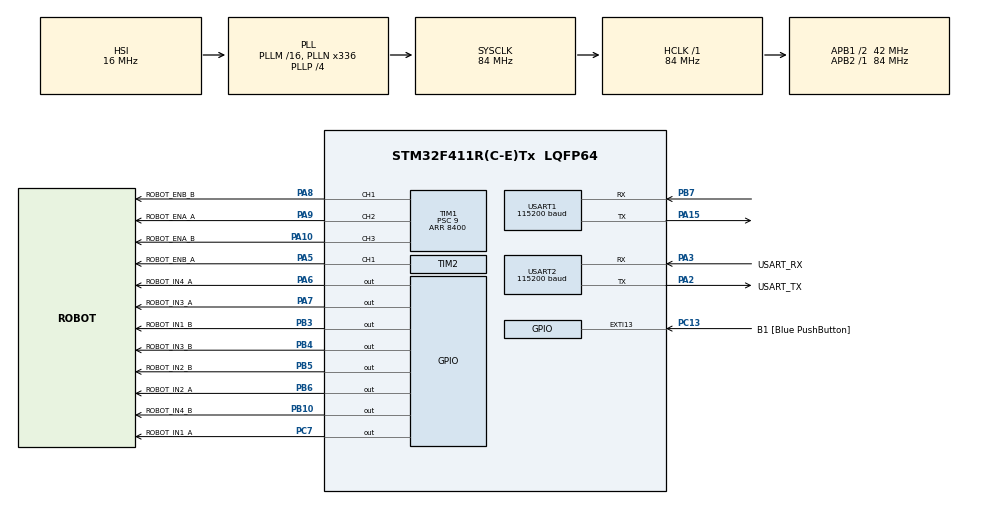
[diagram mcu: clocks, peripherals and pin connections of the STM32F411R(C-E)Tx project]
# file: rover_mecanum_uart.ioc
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Dma.Request0=USART1_RX
Dma.USART1_RX.0.Direction=DMA_PERIPH_TO_MEMORY
Dma.USART1_RX.0.FIFOMode=DMA_FIFOMODE_DISABLE
Dma.USART1_RX.0.Instance=DMA2_Stream2
Dma.USART1_RX.0.MemDataAlignment=DMA_MDATAALIGN_BYTE
Dma.USART1_RX.0.MemInc=DMA_MINC_ENABLE
Dma.USART1_RX.0.Mode=DMA_CIRCULAR
Dma.USART1_RX.0.PeriphDataAlignment=DMA_PDATAALIGN_BYTE
Dma.USART1_RX.0.PeriphInc=DMA_PINC_DISABLE
Dma.USART1_RX.0.Priority=DMA_PRIORITY_LOW
FREERTOS.Events01=lwpkt_events,Dynamic,NULL
FREERTOS.Queues01=uart_rb_queue,10,uint16_t,0,Dynamic,NULL,NULL
FREERTOS.Tasks01=defaultTask,24,256,StartDefaultTask,Default,NULL,Dynamic,NULL,NULL;uart_rb_task,32,256,Startuart_rb_task,Default,NULL,Dynamic,NULL,NULL
FREERTOS.configENABLE_FPU=1
FREERTOS.configUSE_NEWLIB_REENTRANT=1
Mcu.Family=STM32F4
Mcu.Name=STM32F411R(C-E)Tx
Mcu.Package=LQFP64
NVIC.DMA2_Stream2_IRQn=true\:5\:0\:false\:false\:true\:true\:false\:true\:true
NVIC.PriorityGroup=NVIC_PRIORITYGROUP_4
NVIC.TIM1_TRG_COM_TIM11_IRQn=true\:5\:0\:false\:false\:true\:false\:false\:true\:true
NVIC.TimeBase=TIM1_TRG_COM_TIM11_IRQn
NVIC.TimeBaseIP=TIM11
NVIC.USART1_IRQn=true\:5\:0\:false\:false\:true\:true\:true\:true\:true
PA10.GPIO_Label=ROBOT_ENA_B
PA10.Signal=S_TIM1_CH3
PA13.GPIO_Label=TMS
PA13.Mode=Serial_Wire
PA13.Signal=SYS_JTMS-SWDIO
PA14.GPIO_Label=TCK
PA14.Mode=Serial_Wire
PA14.Signal=SYS_JTCK-SWCLK
PA15.Mode=Asynchronous
PA15.Signal=USART1_TX
PA2.GPIO_Label=USART_TX
PA2.Mode=Asynchronous
PA2.Signal=USART2_TX
PA3.GPIO_Label=USART_RX
PA3.Mode=Asynchronous
PA3.Signal=USART2_RX
PA5.GPIO_Label=ROBOT_ENB_A
PA5.Signal=S_TIM2_CH1_ETR
PA6.GPIO_Label=ROBOT_IN4_A
PA6.Signal=GPIO_Output
PA7.GPIO_Label=ROBOT_IN3_A
PA7.Signal=GPIO_Output
PA8.GPIO_Label=ROBOT_ENB_B
PA8.Signal=S_TIM1_CH1
PA9.GPIO_Label=ROBOT_ENA_A
PA9.Signal=S_TIM1_CH2
PB10.GPIO_Label=ROBOT_IN4_B
PB10.Signal=GPIO_Output
PB3.GPIO_Label=ROBOT_IN1_B
PB3.Signal=GPIO_Output
PB4.GPIO_Label=ROBOT_IN3_B
PB4.Signal=GPIO_Output
PB5.GPIO_Label=ROBOT_IN2_B
PB5.Signal=GPIO_Output
PB6.GPIO_Label=ROBOT_IN2_A
PB6.Signal=GPIO_Output
PB7.Mode=Asynchronous
PB7.Signal=USART1_RX
PC13-ANTI_TAMP.GPIO_Label=B1 [Blue PushButton]
PC13-ANTI_TAMP.GPIO_ModeDefaultEXTI=GPIO_MODE_IT_FALLING
PC13-ANTI_TAMP.Signal=GPXTI13
PC14-OSC32_IN.Mode=LSE-External-Oscillator
PC14-OSC32_IN.Signal=RCC_OSC32_IN
PC15-OSC32_OUT.Mode=LSE-External-Oscillator
PC15-OSC32_OUT.Signal=RCC_OSC32_OUT
PC7.GPIO_Label=ROBOT_IN1_A
PC7.Signal=GPIO_Output
PH0\ -\ OSC_IN.Mode=HSE-External-Clock-Source
PH0\ -\ OSC_IN.Signal=RCC_OSC_IN
PH1\ -\ OSC_OUT.Mode=HSE-External-Clock-Source
PH1\ -\ OSC_OUT.Signal=RCC_OSC_OUT
ProjectManager.HeapSize=0x200
ProjectManager.StackSize=0x400
ProjectManager.TargetToolchain=STM32CubeIDE
RCC.48MHZClocksFreq_Value=84000000
RCC.AHBFreq_Value=84000000
RCC.APB1CLKDivider=RCC_HCLK_DIV2
RCC.APB1Freq_Value=42000000
RCC.APB1TimFreq_Value=84000000
RCC.APB2Freq_Value=84000000
RCC.APB2TimFreq_Value=84000000
RCC.CortexFreq_Value=84000000
RCC.FLatency-AdvancedSettings=FLASH_LATENCY_2
RCC.HCLKFreq_Value=84000000
RCC.HSE_VALUE=8000000
RCC.HSI_VALUE=16000000
RCC.PLLN=336
RCC.PLLP=RCC_PLLP_DIV4
RCC.SYSCLKFreq_VALUE=84000000
RCC.SYSCLKSource=RCC_SYSCLKSOURCE_PLLCLK
RCC.VCOOutputFreq_Value=336000000
SH.S_TIM1_CH1.0=TIM1_CH1,PWM Generation1 CH1
SH.S_TIM1_CH2.0=TIM1_CH2,PWM Generation2 CH2
SH.S_TIM1_CH3.0=TIM1_CH3,PWM Generation3 CH3
SH.S_TIM2_CH1_ETR.0=TIM2_CH1,PWM Generation1 CH1
TIM1.Channel-PWM\ Generation1\ CH1=TIM_CHANNEL_1
TIM1.Channel-PWM\ Generation2\ CH2=TIM_CHANNEL_2
TIM1.Channel-PWM\ Generation3\ CH3=TIM_CHANNEL_3
TIM1.Period=8400
TIM1.Prescaler=9
TIM2.Channel-PWM\ Generation1\ CH1=TIM_CHANNEL_1
TIM2.Period=8400
TIM2.Prescaler=9
USART1.BaudRate=115200
USART1.VirtualMode=VM_ASYNC
USART2.BaudRate=115200
USART2.VirtualMode=VM_ASYNC
VP_FREERTOS_VS_CMSIS_V2.Mode=CMSIS_V2
VP_SYS_VS_tim11.Mode=TIM11
VP_TIM1_VS_ClockSourceINT.Mode=Internal
board=NUCLEO-F411RE

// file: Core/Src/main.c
/* USER CODE BEGIN Header */
/**
  ******************************************************************************
  * @file           : main.c
  * @brief          : Main program body
  ******************************************************************************
  * @attention
  *
  * Copyright (c) 2023 STMicroelectronics.
  * All rights reserved.
  *
  * This software is licensed under terms that can be found in the LICENSE file
  * in the root directory of this software component.
  * If no LICENSE file comes with this software, it is provided AS-IS.
  *
  ******************************************************************************
  */
/* USER CODE END Header */
#include "main.h"
#include "cmsis_os.h"

/* USER CODE BEGIN Includes */

#include <mecanum.h>
#include <lwrb/lwrb.h>
#include <lwpkt/lwpkt.h>
#include <stdio.h>
#include "../../cJSON-1.7.17/cJSON.h"

/* USER CODE END Includes */

/* USER CODE BEGIN PD */

#define ROBOT_FL_MOTOR_TIM      htim1
#define ROBOT_FR_MOTOR_TIM      htim1
#define ROBOT_BL_MOTOR_TIM      htim2
#define ROBOT_BR_MOTOR_TIM      htim1

#define ROBOT_FL_MOTOR_TIM_CHAN TIM_CHANNEL_1
#define ROBOT_FR_MOTOR_TIM_CHAN TIM_CHANNEL_3
#define ROBOT_BL_MOTOR_TIM_CHAN TIM_CHANNEL_1
#define ROBOT_BR_MOTOR_TIM_CHAN TIM_CHANNEL_2

#define ROBOT_FL_MOTOR_DIR_PIN_1_PORT ROBOT_IN3_B_GPIO_Port
#define ROBOT_FR_MOTOR_DIR_PIN_1_PORT ROBOT_IN1_B_GPIO_Port
#define ROBOT_BL_MOTOR_DIR_PIN_1_PORT ROBOT_IN3_A_GPIO_Port
#define ROBOT_BR_MOTOR_DIR_PIN_1_PORT ROBOT_IN1_A_GPIO_Port

#define ROBOT_FL_MOTOR_DIR_PIN_2_PORT ROBOT_IN4_B_GPIO_Port
#define ROBOT_FR_MOTOR_DIR_PIN_2_PORT ROBOT_IN2_B_GPIO_Port
#define ROBOT_BL_MOTOR_DIR_PIN_2_PORT ROBOT_IN4_A_GPIO_Port
#define ROBOT_BR_MOTOR_DIR_PIN_2_PORT ROBOT_IN2_A_GPIO_Port

#define ROBOT_FL_MOTOR_DIR_PIN_1 ROBOT_IN3_B_Pin
#define ROBOT_FR_MOTOR_DIR_PIN_1 ROBOT_IN1_B_Pin
#define ROBOT_BL_MOTOR_DIR_PIN_1 ROBOT_IN3_A_Pin
#define ROBOT_BR_MOTOR_DIR_PIN_1 ROBOT_IN1_A_Pin

#define ROBOT_FL_MOTOR_DIR_PIN_2 ROBOT_IN4_B_Pin
#define ROBOT_FR_MOTOR_DIR_PIN_2 ROBOT_IN2_B_Pin
#define ROBOT_BL_MOTOR_DIR_PIN_2 ROBOT_IN4_A_Pin
#define ROBOT_BR_MOTOR_DIR_PIN_2 ROBOT_IN2_A_Pin

#define lwpkt_init_event_flag 			((uint32_t)0x00000001)

#define UART_RX_BUFFER_SIZE 512
#define UART_DMA_RX_BUFFER_SIZE 256
#define UART_TX_BUFFER_SIZE 512

/* USER CODE END PD */

TIM_HandleTypeDef htim1;
TIM_HandleTypeDef htim2;

UART_HandleTypeDef huart1;
UART_HandleTypeDef huart2;
DMA_HandleTypeDef hdma_usart1_rx;

/* Definitions for defaultTask */
osThreadId_t defaultTaskHandle;
const osThreadAttr_t defaultTask_attributes = {
  .name = "defaultTask",
  .stack_size = 256 * 4,
  .priority = (osPriority_t) osPriorityNormal,
};
/* Definitions for uart_rb_task */
osThreadId_t uart_rb_taskHandle;
const osThreadAttr_t uart_rb_task_attributes = {
  .name = "uart_rb_task",
  .stack_size = 256 * 4,
  .priority = (osPriority_t) osPriorityAboveNormal,
};
/* Definitions for uart_rb_queue */
osMessageQueueId_t uart_rb_queueHandle;
const osMessageQueueAttr_t uart_rb_queue_attributes = {
  .name = "uart_rb_queue"
};
/* Definitions for lwpkt_events */
osEventFlagsId_t lwpkt_eventsHandle;
const osEventFlagsAttr_t lwpkt_events_attributes = {
  .name = "lwpkt_events"
};
/* USER CODE BEGIN PV */

motor_t fl_motor = { .dir_pin_1_port = ROBOT_FL_MOTOR_DIR_PIN_1_PORT,
    .dir_pin_1 =
    ROBOT_FL_MOTOR_DIR_PIN_1, .dir_pin_2_port =
    ROBOT_FL_MOTOR_DIR_PIN_2_PORT, .dir_pin_2 = ROBOT_FL_MOTOR_DIR_PIN_2,
    .timer = &ROBOT_FL_MOTOR_TIM, .channel =
    ROBOT_FL_MOTOR_TIM_CHAN, .timer_reload = 0 };

motor_t fr_motor = { .dir_pin_1_port = ROBOT_FR_MOTOR_DIR_PIN_1_PORT,
    .dir_pin_1 =
    ROBOT_FR_MOTOR_DIR_PIN_1, .dir_pin_2_port =
    ROBOT_FR_MOTOR_DIR_PIN_2_PORT, .dir_pin_2 = ROBOT_FR_MOTOR_DIR_PIN_2,
    .timer = &ROBOT_FR_MOTOR_TIM, .channel =
    ROBOT_FR_MOTOR_TIM_CHAN, .timer_reload = 0 };

motor_t bl_motor = { .dir_pin_1_port = ROBOT_BL_MOTOR_DIR_PIN_1_PORT,
    .dir_pin_1 =
    ROBOT_BL_MOTOR_DIR_PIN_1, .dir_pin_2_port =
    ROBOT_BL_MOTOR_DIR_PIN_2_PORT, .dir_pin_2 = ROBOT_BL_MOTOR_DIR_PIN_2,
    .timer = &ROBOT_BL_MOTOR_TIM, .channel =
    ROBOT_BL_MOTOR_TIM_CHAN, .timer_reload = 0 };

motor_t br_motor = { .dir_pin_1_port = ROBOT_BR_MOTOR_DIR_PIN_1_PORT,
    .dir_pin_1 =
    ROBOT_BR_MOTOR_DIR_PIN_1, .dir_pin_2_port =
    ROBOT_BR_MOTOR_DIR_PIN_2_PORT, .dir_pin_2 = ROBOT_BR_MOTOR_DIR_PIN_2,
    .timer = &ROBOT_BR_MOTOR_TIM, .channel =
    ROBOT_BR_MOTOR_TIM_CHAN, .timer_reload = 0 };

four_wheeled_robot_t robot = { .fl_motor = &fl_motor, .fr_motor = &fr_motor,
    .bl_motor = &bl_motor, .br_motor = &br_motor, };

lwpkt_t uart_lwpkt;

uint8_t uart_dma_rx_buffer[UART_DMA_RX_BUFFER_SIZE];

lwrb_t uart_rx_buffer;
uint8_t uart_rx_data_buffer[UART_RX_BUFFER_SIZE];

lwrb_t uart_tx_buffer;
uint8_t uart_tx_data_buffer[UART_TX_BUFFER_SIZE];

const cJSON_Hooks cjson_hooks = {
		.malloc_fn = pvPortMalloc,
		.free_fn = vPortFree
};

/* USER CODE END PV */

void SystemClock_Config(void);
static void MX_GPIO_Init(void);
static void MX_DMA_Init(void);
static void MX_USART2_UART_Init(void);
static void MX_TIM1_Init(void);
static void MX_TIM2_Init(void);
static void MX_USART1_UART_Init(void);
void StartDefaultTask(void *argument);
void Startuart_rb_task(void *argument);

/* USER CODE BEGIN PFP */

int _write(int file, char *ptr, int len);

static void uart_lwpkt_evt_fn(lwpkt_t* pkt, lwpkt_evt_type_t type);
void uart_tx_rb_evt_fn(lwrb_t* buff, lwrb_evt_type_t type, size_t len);

/* USER CODE END PFP */

int main(void)
{

  /* MCU Configuration--------------------------------------------------------*/

  /* Reset of all peripherals, Initializes the Flash interface and the Systick. */
  HAL_Init();

  /* Configure the system clock */
  SystemClock_Config();

  /* Initialize all configured peripherals */
  MX_GPIO_Init();
  MX_DMA_Init();
  MX_USART2_UART_Init();
  MX_TIM1_Init();
  MX_TIM2_Init();
  MX_USART1_UART_Init();

  /* Init scheduler */
  osKernelInitialize();

  /* Create the queue(s) */
  /* creation of uart_rb_queue */
  uart_rb_queueHandle = osMessageQueueNew (10, sizeof(uint16_t), &uart_rb_queue_attributes);

  /* Create the thread(s) */
  /* creation of defaultTask */
  defaultTaskHandle = osThreadNew(StartDefaultTask, NULL, &defaultTask_attributes);

  /* creation of uart_rb_task */
  uart_rb_taskHandle = osThreadNew(Startuart_rb_task, NULL, &uart_rb_task_attributes);

  /* Create the event(s) */
  /* creation of lwpkt_events */
  lwpkt_eventsHandle = osEventFlagsNew(&lwpkt_events_attributes);

  /* Start scheduler */
  osKernelStart();

  /* We should never get here as control is now taken by the scheduler */
  /* Infinite loop */
  while (1)
  {

  }
}

void SystemClock_Config(void)
{
  RCC_OscInitTypeDef RCC_OscInitStruct = {0};
  RCC_ClkInitTypeDef RCC_ClkInitStruct = {0};

  /** Configure the main internal regulator output voltage
  */
  __HAL_RCC_PWR_CLK_ENABLE();
  __HAL_PWR_VOLTAGESCALING_CONFIG(PWR_REGULATOR_VOLTAGE_SCALE1);

  /** Initializes the RCC Oscillators according to the specified parameters
  * in the RCC_OscInitTypeDef structure.
  */
  RCC_OscInitStruct.OscillatorType = RCC_OSCILLATORTYPE_HSI;
  RCC_OscInitStruct.HSIState = RCC_HSI_ON;
  RCC_OscInitStruct.HSICalibrationValue = RCC_HSICALIBRATION_DEFAULT;
  RCC_OscInitStruct.PLL.PLLState = RCC_PLL_ON;
  RCC_OscInitStruct.PLL.PLLSource = RCC_PLLSOURCE_HSI;
  RCC_OscInitStruct.PLL.PLLM = 16;
  RCC_OscInitStruct.PLL.PLLN = 336;
  RCC_OscInitStruct.PLL.PLLP = RCC_PLLP_DIV4;
  RCC_OscInitStruct.PLL.PLLQ = 4;
  if (HAL_RCC_OscConfig(&RCC_OscInitStruct) != HAL_OK)
  {
    Error_Handler();
  }

  /** Initializes the CPU, AHB and APB buses clocks
  */
  RCC_ClkInitStruct.ClockType = RCC_CLOCKTYPE_HCLK|RCC_CLOCKTYPE_SYSCLK
                              |RCC_CLOCKTYPE_PCLK1|RCC_CLOCKTYPE_PCLK2;
  RCC_ClkInitStruct.SYSCLKSource = RCC_SYSCLKSOURCE_PLLCLK;
  RCC_ClkInitStruct.AHBCLKDivider = RCC_SYSCLK_DIV1;
  RCC_ClkInitStruct.APB1CLKDivider = RCC_HCLK_DIV2;
  RCC_ClkInitStruct.APB2CLKDivider = RCC_HCLK_DIV1;

  if (HAL_RCC_ClockConfig(&RCC_ClkInitStruct, FLASH_LATENCY_2) != HAL_OK)
  {
    Error_Handler();
  }
}

static void MX_TIM1_Init(void)
{

  TIM_ClockConfigTypeDef sClockSourceConfig = {0};
  TIM_MasterConfigTypeDef sMasterConfig = {0};
  TIM_OC_InitTypeDef sConfigOC = {0};
  TIM_BreakDeadTimeConfigTypeDef sBreakDeadTimeConfig = {0};

  htim1.Instance = TIM1;
  htim1.Init.Prescaler = 9;
  htim1.Init.CounterMode = TIM_COUNTERMODE_UP;
  htim1.Init.Period = 8400;
  htim1.Init.ClockDivision = TIM_CLOCKDIVISION_DIV1;
  htim1.Init.RepetitionCounter = 0;
  htim1.Init.AutoReloadPreload = TIM_AUTORELOAD_PRELOAD_DISABLE;
  if (HAL_TIM_Base_Init(&htim1) != HAL_OK)
  {
    Error_Handler();
  }
  sClockSourceConfig.ClockSource = TIM_CLOCKSOURCE_INTERNAL;
  if (HAL_TIM_ConfigClockSource(&htim1, &sClockSourceConfig) != HAL_OK)
  {
    Error_Handler();
  }
  if (HAL_TIM_PWM_Init(&htim1) != HAL_OK)
  {
    Error_Handler();
  }
  sMasterConfig.MasterOutputTrigger = TIM_TRGO_RESET;
  sMasterConfig.MasterSlaveMode = TIM_MASTERSLAVEMODE_DISABLE;
  if (HAL_TIMEx_MasterConfigSynchronization(&htim1, &sMasterConfig) != HAL_OK)
  {
    Error_Handler();
  }
  sConfigOC.OCMode = TIM_OCMODE_PWM1;
  sConfigOC.Pulse = 0;
  sConfigOC.OCPolarity = TIM_OCPOLARITY_HIGH;
  sConfigOC.OCNPolarity = TIM_OCNPOLARITY_HIGH;
  sConfigOC.OCFastMode = TIM_OCFAST_DISABLE;
  sConfigOC.OCIdleState = TIM_OCIDLESTATE_RESET;
  sConfigOC.OCNIdleState = TIM_OCNIDLESTATE_RESET;
  if (HAL_TIM_PWM_ConfigChannel(&htim1, &sConfigOC, TIM_CHANNEL_1) != HAL_OK)
  {
    Error_Handler();
  }
  if (HAL_TIM_PWM_ConfigChannel(&htim1, &sConfigOC, TIM_CHANNEL_2) != HAL_OK)
  {
    Error_Handler();
  }
  if (HAL_TIM_PWM_ConfigChannel(&htim1, &sConfigOC, TIM_CHANNEL_3) != HAL_OK)
  {
    Error_Handler();
  }
  sBreakDeadTimeConfig.OffStateRunMode = TIM_OSSR_DISABLE;
  sBreakDeadTimeConfig.OffStateIDLEMode = TIM_OSSI_DISABLE;
  sBreakDeadTimeConfig.LockLevel = TIM_LOCKLEVEL_OFF;
  sBreakDeadTimeConfig.DeadTime = 0;
  sBreakDeadTimeConfig.BreakState = TIM_BREAK_DISABLE;
  sBreakDeadTimeConfig.BreakPolarity = TIM_BREAKPOLARITY_HIGH;
  sBreakDeadTimeConfig.AutomaticOutput = TIM_AUTOMATICOUTPUT_DISABLE;
  if (HAL_TIMEx_ConfigBreakDeadTime(&htim1, &sBreakDeadTimeConfig) != HAL_OK)
  {
    Error_Handler();
  }
  HAL_TIM_MspPostInit(&htim1);

}

static void MX_TIM2_Init(void)
{

  TIM_MasterConfigTypeDef sMasterConfig = {0};
  TIM_OC_InitTypeDef sConfigOC = {0};

  htim2.Instance = TIM2;
  htim2.Init.Prescaler = 9;
  htim2.Init.CounterMode = TIM_COUNTERMODE_UP;
  htim2.Init.Period = 8400;
  htim2.Init.ClockDivision = TIM_CLOCKDIVISION_DIV1;
  htim2.Init.AutoReloadPreload = TIM_AUTORELOAD_PRELOAD_DISABLE;
  if (HAL_TIM_PWM_Init(&htim2) != HAL_OK)
  {
    Error_Handler();
  }
  sMasterConfig.MasterOutputTrigger = TIM_TRGO_RESET;
  sMasterConfig.MasterSlaveMode = TIM_MASTERSLAVEMODE_DISABLE;
  if (HAL_TIMEx_MasterConfigSynchronization(&htim2, &sMasterConfig) != HAL_OK)
  {
    Error_Handler();
  }
  sConfigOC.OCMode = TIM_OCMODE_PWM1;
  sConfigOC.Pulse = 0;
  sConfigOC.OCPolarity = TIM_OCPOLARITY_HIGH;
  sConfigOC.OCFastMode = TIM_OCFAST_DISABLE;
  if (HAL_TIM_PWM_ConfigChannel(&htim2, &sConfigOC, TIM_CHANNEL_1) != HAL_OK)
  {
    Error_Handler();
  }
  HAL_TIM_MspPostInit(&htim2);

}

static void MX_USART1_UART_Init(void)
{

  huart1.Instance = USART1;
  huart1.Init.BaudRate = 115200;
  huart1.Init.WordLength = UART_WORDLENGTH_8B;
  huart1.Init.StopBits = UART_STOPBITS_1;
  huart1.Init.Parity = UART_PARITY_NONE;
  huart1.Init.Mode = UART_MODE_TX_RX;
  huart1.Init.HwFlowCtl = UART_HWCONTROL_NONE;
  huart1.Init.OverSampling = UART_OVERSAMPLING_16;
  if (HAL_UART_Init(&huart1) != HAL_OK)
  {
    Error_Handler();
  }

}

static void MX_USART2_UART_Init(void)
{

  huart2.Instance = USART2;
  huart2.Init.BaudRate = 115200;
  huart2.Init.WordLength = UART_WORDLENGTH_8B;
  huart2.Init.StopBits = UART_STOPBITS_1;
  huart2.Init.Parity = UART_PARITY_NONE;
  huart2.Init.Mode = UART_MODE_TX_RX;
  huart2.Init.HwFlowCtl = UART_HWCONTROL_NONE;
  huart2.Init.OverSampling = UART_OVERSAMPLING_16;
  if (HAL_UART_Init(&huart2) != HAL_OK)
  {
    Error_Handler();
  }

}

static void MX_DMA_Init(void)
{

  /* DMA controller clock enable */
  __HAL_RCC_DMA2_CLK_ENABLE();

  /* DMA interrupt init */
  /* DMA2_Stream2_IRQn interrupt configuration */
  HAL_NVIC_SetPriority(DMA2_Stream2_IRQn, 5, 0);
  HAL_NVIC_EnableIRQ(DMA2_Stream2_IRQn);

}

static void MX_GPIO_Init(void)
{
  GPIO_InitTypeDef GPIO_InitStruct = {0};

  /* GPIO Ports Clock Enable */
  __HAL_RCC_GPIOC_CLK_ENABLE();
  __HAL_RCC_GPIOH_CLK_ENABLE();
  __HAL_RCC_GPIOA_CLK_ENABLE();
  __HAL_RCC_GPIOB_CLK_ENABLE();

  /*Configure GPIO pin Output Level */
  HAL_GPIO_WritePin(GPIOA, ROBOT_IN4_A_Pin|ROBOT_IN3_A_Pin, GPIO_PIN_RESET);

  /*Configure GPIO pin Output Level */
  HAL_GPIO_WritePin(GPIOB, ROBOT_IN4_B_Pin|ROBOT_IN1_B_Pin|ROBOT_IN3_B_Pin|ROBOT_IN2_B_Pin
                          |ROBOT_IN2_A_Pin, GPIO_PIN_RESET);

  /*Configure GPIO pin Output Level */
  HAL_GPIO_WritePin(ROBOT_IN1_A_GPIO_Port, ROBOT_IN1_A_Pin, GPIO_PIN_RESET);

  /*Configure GPIO pin : B1_Pin */
  GPIO_InitStruct.Pin = B1_Pin;
  GPIO_InitStruct.Mode = GPIO_MODE_IT_FALLING;
  GPIO_InitStruct.Pull = GPIO_NOPULL;
  HAL_GPIO_Init(B1_GPIO_Port, &GPIO_InitStruct);

  /*Configure GPIO pins : ROBOT_IN4_A_Pin ROBOT_IN3_A_Pin */
  GPIO_InitStruct.Pin = ROBOT_IN4_A_Pin|ROBOT_IN3_A_Pin;
  GPIO_InitStruct.Mode = GPIO_MODE_OUTPUT_PP;
  GPIO_InitStruct.Pull = GPIO_NOPULL;
  GPIO_InitStruct.Speed = GPIO_SPEED_FREQ_LOW;
  HAL_GPIO_Init(GPIOA, &GPIO_InitStruct);

  /*Configure GPIO pins : ROBOT_IN4_B_Pin ROBOT_IN1_B_Pin ROBOT_IN3_B_Pin ROBOT_IN2_B_Pin
                           ROBOT_IN2_A_Pin */
  GPIO_InitStruct.Pin = ROBOT_IN4_B_Pin|ROBOT_IN1_B_Pin|ROBOT_IN3_B_Pin|ROBOT_IN2_B_Pin
                          |ROBOT_IN2_A_Pin;
  GPIO_InitStruct.Mode = GPIO_MODE_OUTPUT_PP;
  GPIO_InitStruct.Pull = GPIO_NOPULL;
  GPIO_InitStruct.Speed = GPIO_SPEED_FREQ_LOW;
  HAL_GPIO_Init(GPIOB, &GPIO_InitStruct);

  /*Configure GPIO pin : ROBOT_IN1_A_Pin */
  GPIO_InitStruct.Pin = ROBOT_IN1_A_Pin;
  GPIO_InitStruct.Mode = GPIO_MODE_OUTPUT_PP;
  GPIO_InitStruct.Pull = GPIO_NOPULL;
  GPIO_InitStruct.Speed = GPIO_SPEED_FREQ_LOW;
  HAL_GPIO_Init(ROBOT_IN1_A_GPIO_Port, &GPIO_InitStruct);

}

/* USER CODE BEGIN 4 */

int _write(int file, char *ptr, int len){
	HAL_UART_Transmit(&huart2, (uint8_t*)ptr, len, HAL_MAX_DELAY);
	return len;
}

void uart_tx_rb_evt_fn(lwrb_t* buff, lwrb_evt_type_t type, size_t len){
	switch (type) {
		case LWRB_EVT_WRITE:
			lwrb_sz_t size = lwrb_get_linear_block_read_length(buff);
			HAL_UART_Transmit(&huart1, (uint8_t*)lwrb_get_linear_block_read_address(buff), size, HAL_MAX_DELAY);
			lwrb_skip(buff, size);
			size = lwrb_get_linear_block_read_length(buff);
			if (size > 0) {
					HAL_UART_Transmit(&huart1, (uint8_t*)lwrb_get_linear_block_read_address(buff), size, HAL_MAX_DELAY);
			}
			lwrb_skip(buff, size);

			break;
		default:
			break;
	}
}

static void uart_lwpkt_evt_fn(lwpkt_t* pkt, lwpkt_evt_type_t type){
	switch (type) {
		case LWPKT_EVT_PKT:
			size_t len = lwpkt_get_data_len(pkt);
			char* data = (char*)lwpkt_get_data(pkt);
			printf("Packet received, size(%d), data(%.*s)\r\n", len, len, data);

			cJSON* parsed_json = cJSON_ParseWithLength(data, len);
			if (cJSON_IsObject(parsed_json)){
				printf("A json object\r\n");

				cJSON* power_json = cJSON_GetObjectItem(parsed_json, "power");
				cJSON* theta_json = cJSON_GetObjectItem(parsed_json, "theta");
				cJSON* turn_json = cJSON_GetObjectItem(parsed_json, "turn");
				cJSON* stop_json = cJSON_GetObjectItem(parsed_json, "stop");

				if (cJSON_IsTrue(stop_json)) {
					printf("Robot stopped\r\n");
					mecanum_robot_stop(&robot);
				} else {
					if (cJSON_IsNumber(power_json) && cJSON_IsNumber(theta_json) && cJSON_IsNumber(turn_json)){
						float power = cJSON_GetNumberValue(power_json);
						float theta = cJSON_GetNumberValue(theta_json);
						float turn = cJSON_GetNumberValue(turn_json);

						printf("Power: %f, Theta: %f, Turn: %f\r\n", power, theta, turn);

						mecanum_robot_move(&robot, power, theta, turn);
					} else {
						printf("One or more key/value pairs missing\r\n");
					}
				}
			} else {
				printf("Not a json object\r\n");
			}

			cJSON_free(parsed_json);
			break;
		default:
			break;
	}
}

void HAL_UARTEx_RxEventCallback(UART_HandleTypeDef *huart, uint16_t Size) {
  if (huart->Instance == USART1) {
    osMessageQueuePut(uart_rb_queueHandle, &Size, 0, 0);
  }
}

/* USER CODE END 4 */

void StartDefaultTask(void *argument)
{
  /* USER CODE BEGIN 5 */

  mecanum_robot_init(&robot);

  printf("Start\r\n");
	osEventFlagsWait(lwpkt_eventsHandle,
									lwpkt_init_event_flag,
									osFlagsNoClear | osFlagsWaitAll,
									osWaitForever);

	printf("lwpkt initialized\r\n");

	cJSON_InitHooks(&cjson_hooks);

	lwpkt_set_evt_fn(&uart_lwpkt, uart_lwpkt_evt_fn);

	/* Infinite loop */
	for(;;)
	{
		uint32_t current_time = HAL_GetTick();
		lwpkt_process(&uart_lwpkt, current_time);

		osDelay(10);
	}
  /* USER CODE END 5 */
}

void Startuart_rb_task(void *argument)
{
  /* USER CODE BEGIN Startuart_rb_task */
	lwrb_init(&uart_rx_buffer, uart_rx_data_buffer, UART_RX_BUFFER_SIZE);

	lwrb_init(&uart_tx_buffer, uart_tx_data_buffer, UART_TX_BUFFER_SIZE);
	lwrb_set_evt_fn(&uart_tx_buffer, uart_tx_rb_evt_fn);

	lwpkt_init(&uart_lwpkt, &uart_tx_buffer, &uart_rx_buffer);
	osEventFlagsSet(lwpkt_eventsHandle, lwpkt_init_event_flag);

	HAL_UARTEx_ReceiveToIdle_DMA(&huart1, uart_dma_rx_buffer, UART_DMA_RX_BUFFER_SIZE);

	/* Infinite loop */
	for(;;)
	{
		uint16_t Size;
		osMessageQueueGet(uart_rb_queueHandle, &Size, NULL, osWaitForever);

		static uint16_t pos = 0;
		lwrb_write(&uart_rx_buffer, &uart_dma_rx_buffer[pos], Size >= pos ? Size - pos : Size - pos + UART_DMA_RX_BUFFER_SIZE);
		pos = Size;
	}
  /* USER CODE END Startuart_rb_task */
}

void HAL_TIM_PeriodElapsedCallback(TIM_HandleTypeDef *htim)
{
  if (htim->Instance == TIM11) {
    HAL_IncTick();
  }
}

void Error_Handler(void)
{
  __disable_irq();
  while (1)
  {
  }
}
